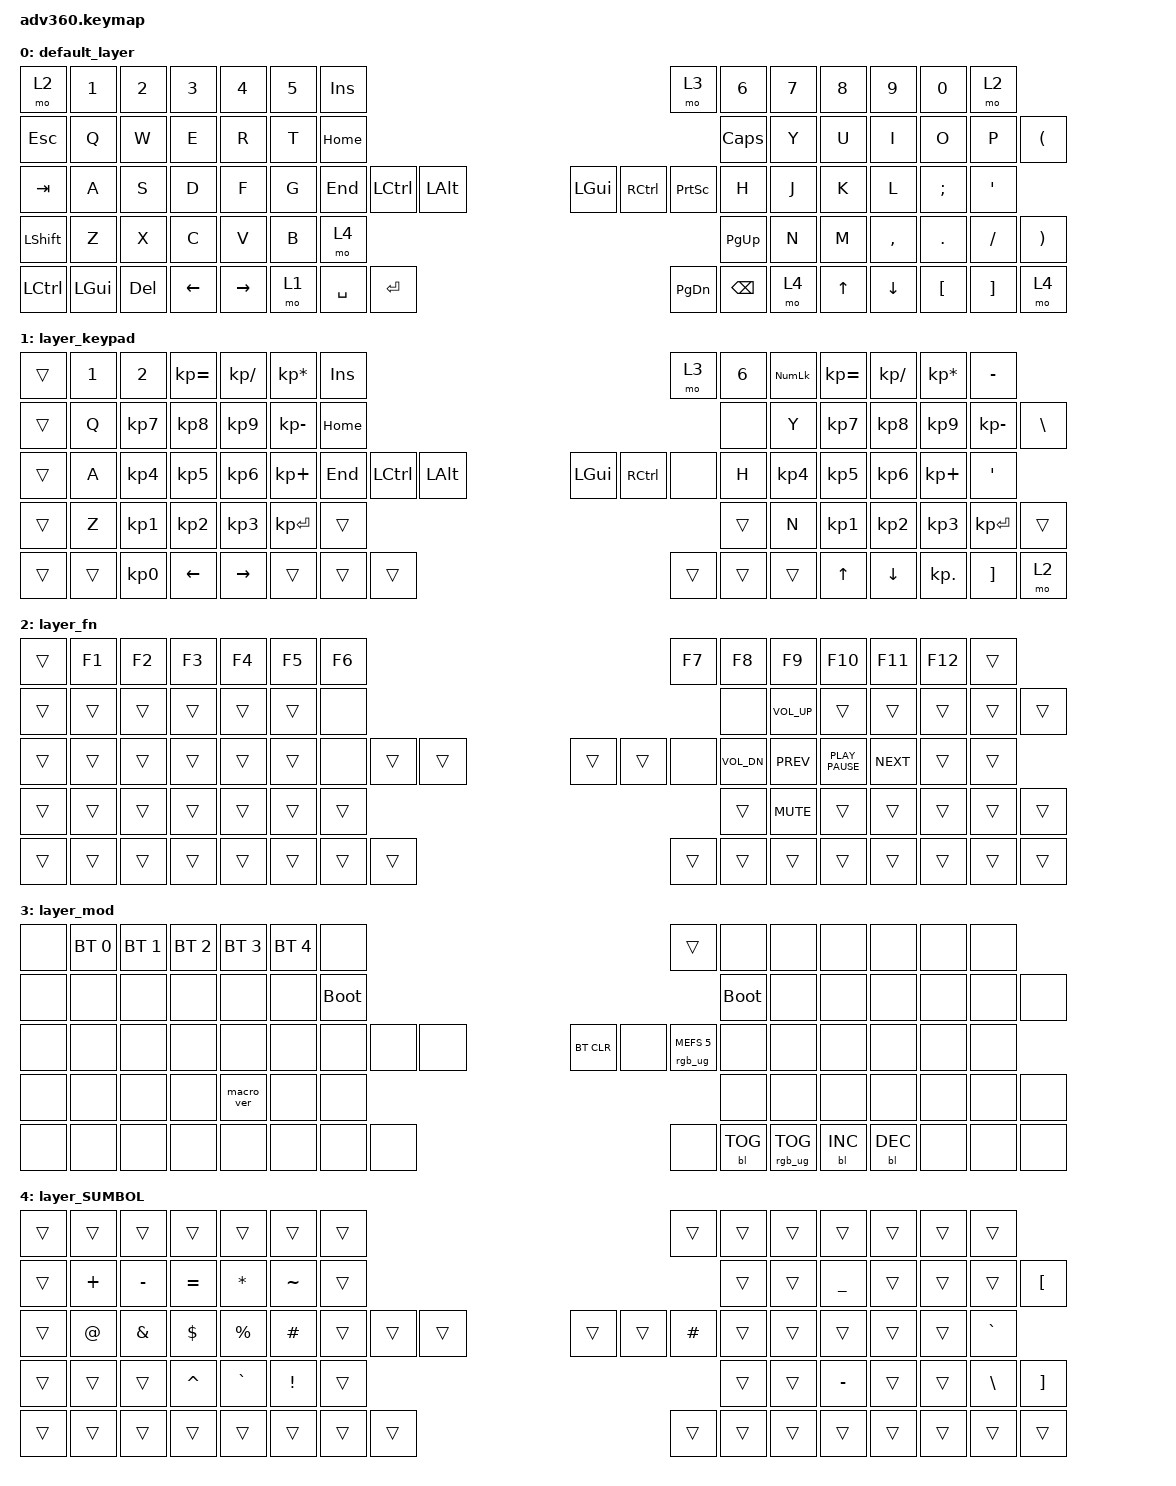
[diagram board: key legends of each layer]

/*
 * Copyright (c) 2020 The ZMK Contributors
 *
 * SPDX-License-Identifier: MIT
 */


/* THIS FILE WAS GENERATED!
 *
 * This file was generated automatically. You may or may not want to
 * edit it directly.
 */

#include <behaviors.dtsi>
#include <dt-bindings/zmk/keys.h>
#include <dt-bindings/zmk/bt.h>
#include <dt-bindings/zmk/rgb.h>
#include <dt-bindings/zmk/backlight.h>

/ {
  behaviors {
    #include "macros.dtsi"
    #include "version.dtsi"

    hm: homerow_mods {
        compatible = "zmk,behavior-hold-tap";
        label = "HOMEROW_MODS";
        #binding-cells = <2>;
        tapping-term-ms = <200>;
        quick_tap_ms = <175>;
        flavor = "tap-preferred";
        bindings = <&kp>, <&kp>;
    };
  };

    keymap {
        compatible = "zmk,keymap";


        default_layer {
            bindings = <
     &mo 2        &kp N1      &kp N2    &kp N3     &kp N4  &kp N5            &kp INSERT                                                                        &mo 3  &kp N6  &kp N7     &kp N8    &kp N9    &kp N0                  &mo 2
   &kp ESC         &kp Q       &kp W     &kp E      &kp R   &kp T              &kp HOME                                                                 &kp CAPSLOCK   &kp Y   &kp U      &kp I     &kp O     &kp P   &kp LEFT_PARENTHESIS
   &kp TAB         &kp A       &kp S     &kp D      &kp F   &kp G               &kp END  &kp LCTRL   &kp LALT                   &kp LGUI  &kp RCTRL  &kp PRINTSCREEN   &kp H   &kp J      &kp K     &kp L  &kp SEMI                &kp SQT
 &kp LSHFT         &kp Z       &kp X     &kp C      &kp V   &kp B                                       &mo 4                  &kp PG_UP                               &kp N   &kp M  &kp COMMA   &kp DOT  &kp FSLH  &kp RIGHT_PARENTHESIS
 &kp LCTRL  &kp LEFT_GUI  &kp DELETE  &kp LEFT  &kp RIGHT                         &mo 1  &kp SPACE  &kp ENTER                  &kp PG_DN   &kp BSPC            &mo 4          &kp UP   &kp DOWN  &kp LBKT  &kp RBKT                  &mo 4
            >;
        };

        layer_keypad {
            bindings = <
 &trans  &kp N1     &kp N2  &kp KP_EQUAL  &kp KP_SLASH  &kp KP_MULTIPLY            &kp INSERT                                                             &mo 3  &kp N6  &kp KP_NUM  &kp KP_EQUAL  &kp KP_DIVIDE  &kp KP_MULTIPLY  &kp MINUS
 &trans   &kp Q  &kp KP_N7     &kp KP_N8     &kp KP_N9     &kp KP_MINUS              &kp HOME                                                             &none   &kp Y   &kp KP_N7     &kp KP_N8      &kp KP_N9     &kp KP_MINUS   &kp BSLH
 &trans   &kp A  &kp KP_N4     &kp KP_N5     &kp KP_N6      &kp KP_PLUS               &kp END  &kp LCTRL  &kp LALT                  &kp LGUI  &kp RCTRL   &none   &kp H   &kp KP_N4     &kp KP_N5      &kp KP_N6      &kp KP_PLUS    &kp SQT
 &trans   &kp Z  &kp KP_N1     &kp KP_N2     &kp KP_N3     &kp KP_ENTER                                     &trans                    &trans                      &kp N   &kp KP_N1     &kp KP_N2      &kp KP_N3     &kp KP_ENTER     &trans
 &trans  &trans  &kp KP_N0      &kp LEFT     &kp RIGHT                                 &trans     &trans    &trans                    &trans     &trans  &trans              &kp UP      &kp DOWN     &kp KP_DOT         &kp RBKT      &mo 2
            >;
        };

        layer_fn {
            bindings = <
 &trans  &kp F1  &kp F2  &kp F3  &kp F4  &kp F5            &kp F6                                                  &kp F7           &kp F8      &kp F9           &kp F10     &kp F11  &kp F12  &trans
 &trans  &trans  &trans  &trans  &trans  &trans             &none                                                   &none  &kp K_VOLUME_UP      &trans            &trans      &trans   &trans  &trans
 &trans  &trans  &trans  &trans  &trans  &trans             &none  &trans  &trans                  &trans  &trans   &none     &kp K_VOL_DN  &kp K_PREV  &kp K_PLAY_PAUSE  &kp K_NEXT   &trans  &trans
 &trans  &trans  &trans  &trans  &trans  &trans                            &trans                  &trans                       &kp K_MUTE      &trans            &trans      &trans   &trans  &trans
 &trans  &trans  &trans  &trans  &trans                    &trans  &trans  &trans                  &trans  &trans  &trans                       &trans            &trans      &trans   &trans  &trans
            >;
        };

        layer_mod {
            bindings = <
  &none  &bt BT_SEL 0  &bt BT_SEL 1  &bt BT_SEL 2  &bt BT_SEL 3  &bt BT_SEL 4                  &none                                                                          &trans   &none       &none       &none   &none   &none   &none
  &none         &none         &none         &none         &none         &none            &bootloader                                                                     &bootloader   &none       &none       &none   &none   &none   &none
  &none         &none         &none         &none         &none         &none                  &none   &none   &none                  &bt BT_CLR       &none  &rgb_ug RGB_MEFS_CMD 5   &none       &none       &none   &none   &none   &none
  &none         &none         &none         &none    &macro_ver         &none                                  &none                       &none                                       &none       &none       &none   &none   &none   &none
  &none         &none         &none         &none         &none                                &none   &none   &none                       &none  &bl BL_TOG         &rgb_ug RGB_TOG          &bl BL_INC  &bl BL_DEC   &none   &none   &none
            >;
        };

        layer_SUMBOL {
            bindings = <
 &trans    &trans         &trans      &trans        &trans           &trans            &trans                                                    &trans  &trans          &trans  &trans  &trans         &trans             &trans
 &trans  &kp PLUS      &kp MINUS   &kp EQUAL  &kp ASTERISK        &kp TILDE            &trans                                                    &trans  &trans  &kp UNDERSCORE  &trans  &trans         &trans   &kp LEFT_BRACKET
 &trans    &kp AT  &kp AMPERSAND  &kp DOLLAR   &kp PERCENT         &kp HASH            &trans  &trans  &trans                  &trans  &trans  &kp HASH  &trans          &trans  &trans  &trans         &trans          &kp GRAVE
 &trans    &trans         &trans   &kp CARET     &kp GRAVE  &kp EXCLAMATION                            &trans                  &trans                    &trans       &kp MINUS  &trans  &trans  &kp BACKSLASH  &kp RIGHT_BRACKET
 &trans    &trans         &trans      &trans        &trans                             &trans  &trans  &trans                  &trans  &trans    &trans                  &trans  &trans  &trans         &trans             &trans
            >;
        };

    };
};
